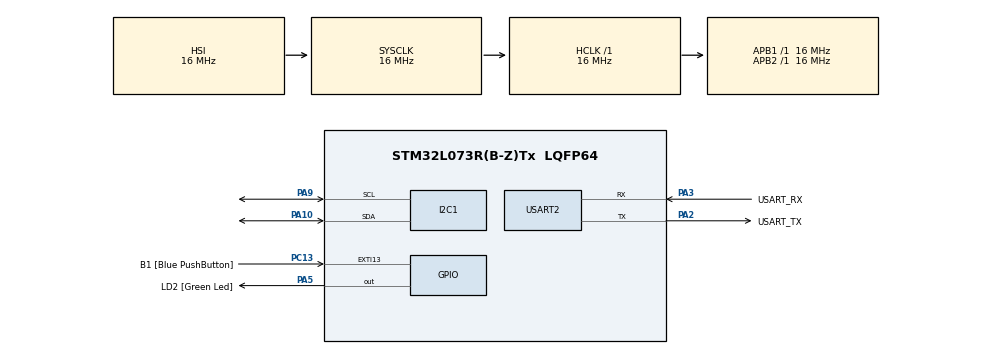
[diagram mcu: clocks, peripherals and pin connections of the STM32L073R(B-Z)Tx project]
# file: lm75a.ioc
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I2C1.Timing=0x00303D5B
Mcu.Family=STM32L0
Mcu.Name=STM32L073R(B-Z)Tx
Mcu.Package=LQFP64
NVIC.I2C1_IRQn=true\:0\:0\:false\:false\:true\:true\:true
NVIC.USART2_IRQn=true\:0\:0\:false\:false\:true\:true\:true
PA10.Mode=I2C
PA10.Signal=I2C1_SDA
PA13.GPIO_Label=TMS
PA13.Signal=SYS_SWDIO
PA14.GPIO_Label=TCK
PA14.Signal=SYS_SWCLK
PA2.GPIO_Label=USART_TX
PA2.Mode=Asynchronous
PA2.Signal=USART2_TX
PA3.GPIO_Label=USART_RX
PA3.Mode=Asynchronous
PA3.Signal=USART2_RX
PA5.GPIO_Label=LD2 [Green Led]
PA5.Signal=GPIO_Output
PA9.Mode=I2C
PA9.Signal=I2C1_SCL
PC13.GPIO_Label=B1 [Blue PushButton]
PC13.GPIO_ModeDefaultEXTI=GPIO_MODE_IT_FALLING
PC13.Signal=GPXTI13
PC14-OSC32_IN.Signal=RCC_OSC32_IN
PC15-OSC32_OUT.Signal=RCC_OSC32_OUT
PH0-OSC_IN.GPIO_Label=MCO
PH0-OSC_IN.Signal=RCC_OSC_IN
ProjectManager.HeapSize=0x200
ProjectManager.StackSize=0x400
ProjectManager.TargetToolchain=SW4STM32
RCC.AHBFreq_Value=16000000
RCC.APB1Freq_Value=16000000
RCC.APB1TimFreq_Value=16000000
RCC.APB2Freq_Value=16000000
RCC.APB2TimFreq_Value=16000000
RCC.HCLKFreq_Value=16000000
RCC.HSE_VALUE=8000000
RCC.HSI16_VALUE=16000000
RCC.HSI48_VALUE=48000000
RCC.HSI_VALUE=16000000
RCC.LSEState=RCC_LSE_ON
RCC.LSE_VALUE=32768
RCC.MSI_VALUE=2097000
RCC.SYSCLKFreq_VALUE=16000000
RCC.SYSCLKSource=RCC_SYSCLKSOURCE_HSI
RCC.VCOOutputFreq_Value=48000000
USART2.VirtualMode-Asynchronous=VM_ASYNC
board=NUCLEO-L073RZ

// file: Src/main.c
/* USER CODE BEGIN Header */
/**
  ******************************************************************************
  * @file           : main.c
  * @brief          : Main program body
  ******************************************************************************
  * @attention
  *
  * <h2><center>&copy; Copyright (c) 2020 STMicroelectronics.
  * All rights reserved.</center></h2>
  *
  * This software component is licensed by ST under BSD 3-Clause license,
  * the "License"; You may not use this file except in compliance with the
  * License. You may obtain a copy of the License at:
  *                        opensource.org/licenses/BSD-3-Clause
  *
  ******************************************************************************
  */
/* USER CODE END Header */

#include "main.h"
#include <string.h>
#include <stdio.h>

uint8_t ADDR = 0x48 << 1;
uint8_t TEMP_REG = 0x00;
uint16_t val;
 float temp_C;
 uint8_t buf[12];

I2C_HandleTypeDef hi2c1;

UART_HandleTypeDef huart2;

void SystemClock_Config(void);
static void MX_GPIO_Init(void);
static void MX_I2C1_Init(void);
static void MX_USART2_UART_Init(void);

int main(void)
{

  /* MCU Configuration--------------------------------------------------------*/

  /* Reset of all peripherals, Initializes the Flash interface and the Systick. */
  HAL_Init();

  /* Configure the system clock */
  SystemClock_Config();

  /* Initialize all configured peripherals */
  MX_GPIO_Init();
  MX_I2C1_Init();
  MX_USART2_UART_Init();

  /* Infinite loop */
  /* USER CODE BEGIN WHILE */
  while (1)
  {
	 // I2C_Scan();

	  HAL_StatusTypeDef ret;

	buf[0] = TEMP_REG;
	ret = HAL_I2C_Master_Transmit(&hi2c1, ADDR, buf, 1, HAL_MAX_DELAY);
	if (ret != HAL_OK) {
		strcpy((char*)buf,"Error Tx\r\n");
	} else {
		ret = HAL_I2C_Master_Receive(&hi2c1, ADDR, buf, 2, HAL_MAX_DELAY);
		if (ret != HAL_OK) {
			strcpy((char*)buf,"Error Rx\r\n");
		} else {
			val = ((int16_t)buf[0] << 3) | (buf[1] >> 5);
			temp_C = val * 0.125;
			temp_C *= 100;
			sprintf((char*)buf, "%u.%2u C \r\n",
					((unsigned int)temp_C / 100),
					((unsigned int)temp_C % 100));
		}
	}

	HAL_UART_Transmit(&huart2, buf, strlen((char*)buf), HAL_MAX_DELAY);
		  HAL_Delay(300);
    /* USER CODE END WHILE */

  }
}

void SystemClock_Config(void)
{
  RCC_OscInitTypeDef RCC_OscInitStruct = {0};
  RCC_ClkInitTypeDef RCC_ClkInitStruct = {0};
  RCC_PeriphCLKInitTypeDef PeriphClkInit = {0};

  /** Configure the main internal regulator output voltage
  */
  __HAL_PWR_VOLTAGESCALING_CONFIG(PWR_REGULATOR_VOLTAGE_SCALE1);
  /** Initializes the CPU, AHB and APB busses clocks
  */
  RCC_OscInitStruct.OscillatorType = RCC_OSCILLATORTYPE_HSI;
  RCC_OscInitStruct.HSIState = RCC_HSI_ON;
  RCC_OscInitStruct.HSICalibrationValue = RCC_HSICALIBRATION_DEFAULT;
  RCC_OscInitStruct.PLL.PLLState = RCC_PLL_NONE;
  if (HAL_RCC_OscConfig(&RCC_OscInitStruct) != HAL_OK)
  {
    Error_Handler();
  }
  /** Initializes the CPU, AHB and APB busses clocks
  */
  RCC_ClkInitStruct.ClockType = RCC_CLOCKTYPE_HCLK|RCC_CLOCKTYPE_SYSCLK
                              |RCC_CLOCKTYPE_PCLK1|RCC_CLOCKTYPE_PCLK2;
  RCC_ClkInitStruct.SYSCLKSource = RCC_SYSCLKSOURCE_HSI;
  RCC_ClkInitStruct.AHBCLKDivider = RCC_SYSCLK_DIV1;
  RCC_ClkInitStruct.APB1CLKDivider = RCC_HCLK_DIV1;
  RCC_ClkInitStruct.APB2CLKDivider = RCC_HCLK_DIV1;

  if (HAL_RCC_ClockConfig(&RCC_ClkInitStruct, FLASH_LATENCY_0) != HAL_OK)
  {
    Error_Handler();
  }
  PeriphClkInit.PeriphClockSelection = RCC_PERIPHCLK_USART2|RCC_PERIPHCLK_I2C1;
  PeriphClkInit.Usart2ClockSelection = RCC_USART2CLKSOURCE_PCLK1;
  PeriphClkInit.I2c1ClockSelection = RCC_I2C1CLKSOURCE_PCLK1;
  if (HAL_RCCEx_PeriphCLKConfig(&PeriphClkInit) != HAL_OK)
  {
    Error_Handler();
  }
}

static void MX_I2C1_Init(void)
{

  hi2c1.Instance = I2C1;
  hi2c1.Init.Timing = 0x00303D5B;
  hi2c1.Init.OwnAddress1 = 0;
  hi2c1.Init.AddressingMode = I2C_ADDRESSINGMODE_7BIT;
  hi2c1.Init.DualAddressMode = I2C_DUALADDRESS_DISABLE;
  hi2c1.Init.OwnAddress2 = 0;
  hi2c1.Init.OwnAddress2Masks = I2C_OA2_NOMASK;
  hi2c1.Init.GeneralCallMode = I2C_GENERALCALL_DISABLE;
  hi2c1.Init.NoStretchMode = I2C_NOSTRETCH_DISABLE;
  if (HAL_I2C_Init(&hi2c1) != HAL_OK)
  {
    Error_Handler();
  }
  /** Configure Analogue filter
  */
  if (HAL_I2CEx_ConfigAnalogFilter(&hi2c1, I2C_ANALOGFILTER_ENABLE) != HAL_OK)
  {
    Error_Handler();
  }
  /** Configure Digital filter
  */
  if (HAL_I2CEx_ConfigDigitalFilter(&hi2c1, 0) != HAL_OK)
  {
    Error_Handler();
  }

}

static void MX_USART2_UART_Init(void)
{

  huart2.Instance = USART2;
  huart2.Init.BaudRate = 115200;
  huart2.Init.WordLength = UART_WORDLENGTH_8B;
  huart2.Init.StopBits = UART_STOPBITS_1;
  huart2.Init.Parity = UART_PARITY_NONE;
  huart2.Init.Mode = UART_MODE_TX_RX;
  huart2.Init.HwFlowCtl = UART_HWCONTROL_NONE;
  huart2.Init.OverSampling = UART_OVERSAMPLING_16;
  huart2.Init.OneBitSampling = UART_ONE_BIT_SAMPLE_DISABLE;
  huart2.AdvancedInit.AdvFeatureInit = UART_ADVFEATURE_NO_INIT;
  if (HAL_UART_Init(&huart2) != HAL_OK)
  {
    Error_Handler();
  }

}

static void MX_GPIO_Init(void)
{
  GPIO_InitTypeDef GPIO_InitStruct = {0};

  /* GPIO Ports Clock Enable */
  __HAL_RCC_GPIOC_CLK_ENABLE();
  __HAL_RCC_GPIOH_CLK_ENABLE();
  __HAL_RCC_GPIOA_CLK_ENABLE();

  /*Configure GPIO pin Output Level */
  HAL_GPIO_WritePin(LD2_GPIO_Port, LD2_Pin, GPIO_PIN_RESET);

  /*Configure GPIO pin : B1_Pin */
  GPIO_InitStruct.Pin = B1_Pin;
  GPIO_InitStruct.Mode = GPIO_MODE_IT_FALLING;
  GPIO_InitStruct.Pull = GPIO_NOPULL;
  HAL_GPIO_Init(B1_GPIO_Port, &GPIO_InitStruct);

  /*Configure GPIO pin : LD2_Pin */
  GPIO_InitStruct.Pin = LD2_Pin;
  GPIO_InitStruct.Mode = GPIO_MODE_OUTPUT_PP;
  GPIO_InitStruct.Pull = GPIO_NOPULL;
  GPIO_InitStruct.Speed = GPIO_SPEED_FREQ_LOW;
  HAL_GPIO_Init(LD2_GPIO_Port, &GPIO_InitStruct);

}

void Error_Handler(void)
{
}

/************************ (C) COPYRIGHT STMicroelectronics *****END OF FILE****/
